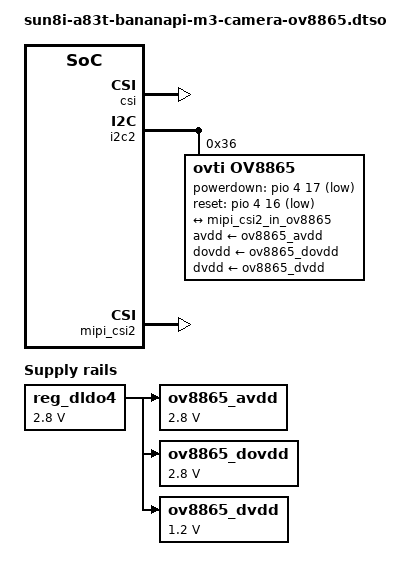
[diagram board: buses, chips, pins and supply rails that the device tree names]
// SPDX-License-Identifier: GPL-2.0 OR X11
/*
 * Copyright 2022 Bootlin
 * Author: Kévin L'hôpital <kevin.lhopital@bootlin.com>
 * Author: Paul Kocialkowski <paul.kocialkowski@bootlin.com>
 */

/dts-v1/;
/plugin/;

#include <dt-bindings/clock/sun8i-a83t-ccu.h>
#include <dt-bindings/gpio/gpio.h>

&{/} {
	/*
	 * These regulators actually have DLDO4 tied to their EN pin, which is
	 * described as input supply here for lack of a better representation.
	 * Their actual supply is PS, which is always-on.
	 */

	ov8865_avdd: ov8865-avdd {
		compatible = "regulator-fixed";
		regulator-name = "ov8865-avdd";
		regulator-min-microvolt = <2800000>;
		regulator-max-microvolt = <2800000>;
		vin-supply = <&reg_dldo4>;
	};

	ov8865_dovdd: ov8865-dovdd {
		compatible = "regulator-fixed";
		regulator-name = "ov8865-dovdd";
		regulator-min-microvolt = <2800000>;
		regulator-max-microvolt = <2800000>;
		vin-supply = <&reg_dldo4>;
	};

	ov8865_dvdd: ov8865-dvdd {
		compatible = "regulator-fixed";
		regulator-name = "ov8865-dvdd";
		regulator-min-microvolt = <1200000>;
		regulator-max-microvolt = <1200000>;
		vin-supply = <&reg_dldo4>;
	};
};

&ccu {
	assigned-clocks = <&ccu CLK_CSI_MCLK>;
	assigned-clock-parents = <&osc24M>;
	assigned-clock-rates = <24000000>;
};

&csi {
	status = "okay";
};

&i2c2 {
	pinctrl-names = "default";
	pinctrl-0 = <&i2c2_pe_pins>;
	status = "okay";

	#address-cells = <1>;
	#size-cells = <0>;

	ov8865: camera@36 {
		compatible = "ovti,ov8865";
		reg = <0x36>;

		clocks = <&ccu CLK_CSI_MCLK>;
		assigned-clocks = <&ccu CLK_CSI_MCLK>;
		assigned-clock-parents = <&osc24M>;
		assigned-clock-rates = <24000000>;

		avdd-supply = <&ov8865_avdd>;
		dovdd-supply = <&ov8865_dovdd>;
		dvdd-supply = <&ov8865_dvdd>;

		powerdown-gpios = <&pio 4 17 GPIO_ACTIVE_LOW>; /* PE17 */
		reset-gpios = <&pio 4 16 GPIO_ACTIVE_LOW>; /* PE16 */

		port {
			ov8865_out_mipi_csi2: endpoint {
				remote-endpoint = <&mipi_csi2_in_ov8865>;
				link-frequencies = /bits/ 64 <360000000>;
				data-lanes = <1 2 3 4>;
			};
		};
	};
};

&mipi_csi2 {
	status = "okay";
};

&mipi_csi2_in {
	mipi_csi2_in_ov8865: endpoint {
		remote-endpoint = <&ov8865_out_mipi_csi2>;
		data-lanes = <1 2 3 4>;
	};
};

&pio {
	pinctrl-names = "default";
	pinctrl-0 = <&csi_mclk_pin>;
};

&reg_dldo4 {
	regulator-min-microvolt = <2800000>;
	regulator-max-microvolt = <2800000>;
};
